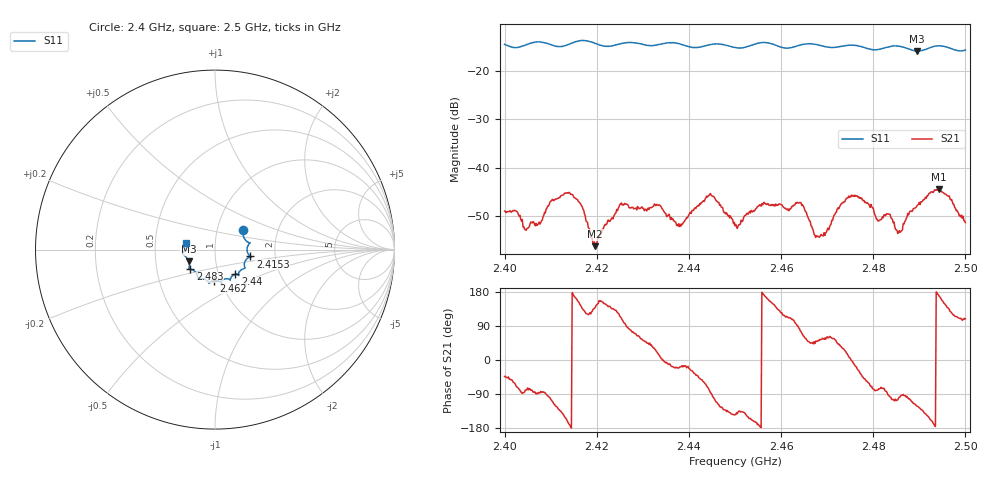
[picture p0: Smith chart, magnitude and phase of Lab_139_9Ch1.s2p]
# Hz S RI R 50
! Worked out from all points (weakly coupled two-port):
!   601 points, 2.4 GHz to 2.5 GHz, reference 50 ohm
!   highest |S21| = -44.43 dB at 2.4942 GHz (marker M1); lowest = -56.2 dB at 2.4197 GHz (marker M2)
!   lowest |S11| = -15.9 dB at 2.4895 GHz (marker M3), VSWR 1.38, Z = 36.9 - j4.98 ohm
!   |S11| at or under -10 dB: start of sweep to end of sweep
!   S12 and S22 are empty: the file has one direction only
!   S11 on the Smith chart (normalised r, x): 2.4 GHz: 1.33, +0.29; 2.4153 GHz: 1.48, -0.12; 2.44 GHz: 1.20, -0.34; 2.462 GHz: 0.93, -0.33; 2.483 GHz: 0.74, -0.17; 2.5 GHz: 0.72, +0.06
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2.4e9  0.155 0.1066  0.00258 -0.00245  0 0  0 0
2.404833e9  0.1832 0.0416  0.000486 -0.0023  0 0  0 0
2.415333e9  0.1963 -0.0384  -0.00469 0.00124  0 0  0 0
2.416667e9  0.202 -0.0424  -0.00315 0.00259  0 0  0 0
2.419667e9  0.1878 -0.0443  -0.00115 0.00103  0 0  0 0
2.425167e9  0.1653 -0.0968  -0.00167 0.00386  0 0  0 0
2.433333e9  0.1311 -0.1336  0.00394 0.00108  0 0  0 0
2.437833e9  0.1295 -0.1408  0.00247 -0.000934  0 0  0 0
2.44e9  0.114 -0.1368  0.00303 -0.00123  0 0  0 0
2.444833e9  0.0847 -0.1679  0.000174 -0.00518  0 0  0 0
2.45e9  0.0646 -0.1624  -0.00204 -0.00148  0 0  0 0
2.462e9  -0.00498 -0.1732  -0.00134 0.00348  0 0  0 0
2.464333e9  -0.0291 -0.1839  0.00115 0.00419  0 0  0 0
2.466667e9  -0.034 -0.1876  0.00174 0.00176  0 0  0 0
2.469333e9  -0.0423 -0.1743  0.00123 0.00174  0 0  0 0
2.4755e9  -0.0931 -0.1598  0.00509 -0.000358  0 0  0 0
2.483e9  -0.1377 -0.1096  0.000254 -0.00332  0 0  0 0
2.483333e9  -0.1402 -0.1094  -0.000168 -0.00331  0 0  0 0
2.485833e9  -0.1458 -0.105  -0.000272 -0.00213  0 0  0 0
2.4895e9  -0.1464 -0.0657  -0.00213 -0.00344  0 0  0 0
2.494167e9  -0.1805 -0.0223  -0.00594 0.000863  0 0  0 0
2.5e9  -0.1596 0.0392  -0.000874 0.00257  0 0  0 0
